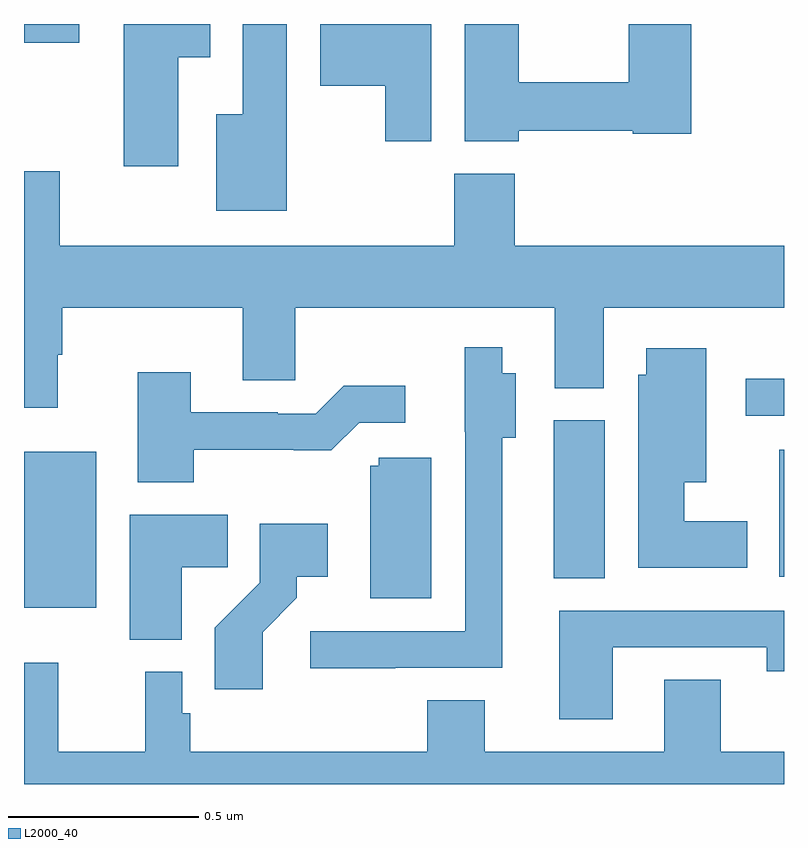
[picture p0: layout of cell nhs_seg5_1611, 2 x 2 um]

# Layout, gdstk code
import gdstk
lib = gdstk.Library(unit=1e-6, precision=1e-09)
def R(c, l, rs):  # rectangles x0, y0, x1, y1
    for r in rs: c.add(gdstk.rectangle(r[:2], r[2:], *l))
def P(c, l, *ps):  # polygons
    for p in ps: c.add(gdstk.Polygon(p, *l))
L2000_40 = (2000, 40)

nhs_seg5_1611 = lib.new_cell('nhs_seg5_1611')
R(nhs_seg5_1611, L2000_40, [(132,897.263,132.19,897.673), (133.394,897.34,133.528,897.756), (133.988,897.344,134,897.679), (133.899,897.768,134,897.866), (132,898.75,132.145,898.799)])
P(nhs_seg5_1611, L2000_40, [(132.406,898.712),(132.49,898.712),(132.49,898.799),(132.263,898.799),(132.263,898.425),(132.406,898.425)],
  [(133.072,898.799),(132.779,898.799),(132.779,898.637),(132.95,898.637),(132.95,898.491),(133.072,898.491)],
  [(133.302,898.518),(133.602,898.518),(133.602,898.51),(133.756,898.51),(133.756,898.799),(133.591,898.799),(133.591,898.646),(133.302,898.646),(133.302,898.799),(133.16,898.799),(133.16,898.49),(133.302,898.49)],
  [(132.691,898.799),(132.575,898.799),(132.575,898.561),(132.506,898.561),(132.506,898.307),(132.691,898.307)],
  [(132.089,897.929),(132.1,897.929),(132.1,898.052),(132.575,898.052),(132.575,897.862),(132.714,897.862),(132.714,898.052),(133.397,898.052),(133.397,897.841),(133.525,897.841),(133.525,898.052),(134,898.052),(134,898.216),(133.292,898.216),(133.292,898.405),(133.132,898.405),(133.132,898.216),(132.094,898.216),(132.094,898.411),(132,898.411),(132,897.789),(132.089,897.789)],
  [(132.977,897.105),(133.258,897.105),(133.258,897.71),(133.294,897.71),(133.294,897.88),(133.258,897.88),(133.258,897.949),(133.16,897.949),(133.16,897.726),(133.161,897.726),(133.161,897.201),(132.753,897.201),(132.753,897.103),(132.977,897.103)],
  [(133.903,897.49),(133.738,897.49),(133.738,897.593),(133.795,897.593),(133.795,897.946),(133.637,897.946),(133.637,897.876),(133.616,897.876),(133.616,897.368),(133.903,897.368)],
  [(132.447,897.678),(132.71,897.678),(132.71,897.677),(132.809,897.677),(132.882,897.75),(133.003,897.75),(133.003,897.847),(132.841,897.847),(132.768,897.774),(132.668,897.774),(132.668,897.777),(132.439,897.777),(132.439,897.883),(132.299,897.883),(132.299,897.593),(132.447,897.593)],
  [(133.072,897.657),(132.933,897.657),(132.933,897.636),(132.911,897.636),(132.911,897.288),(133.072,897.288)],
  [(132.415,897.37),(132.536,897.37),(132.536,897.508),(132.278,897.508),(132.278,897.179),(132.415,897.179)],
  [(132.628,897.199),(132.718,897.289),(132.718,897.344),(132.799,897.344),(132.799,897.484),(132.621,897.484),(132.621,897.329),(132.502,897.21),(132.502,897.048),(132.628,897.048)],
  [(133.549,897.159),(133.954,897.159),(133.954,897.096),(134,897.096),(134,897.255),(133.409,897.255),(133.409,896.97),(133.549,896.97)],
  [(134,896.884),(133.833,896.884),(133.833,897.074),(133.685,897.074),(133.685,896.884),(133.213,896.884),(133.213,897.02),(133.061,897.02),(133.061,896.884),(132.437,896.884),(132.437,896.985),(132.417,896.985),(132.417,897.094),(132.319,897.094),(132.319,896.884),(132.09,896.884),(132.09,897.118),(132,897.118),(132,896.799),(134,896.799)])

lib.write_gds('nhs_seg5_1611.gds')
